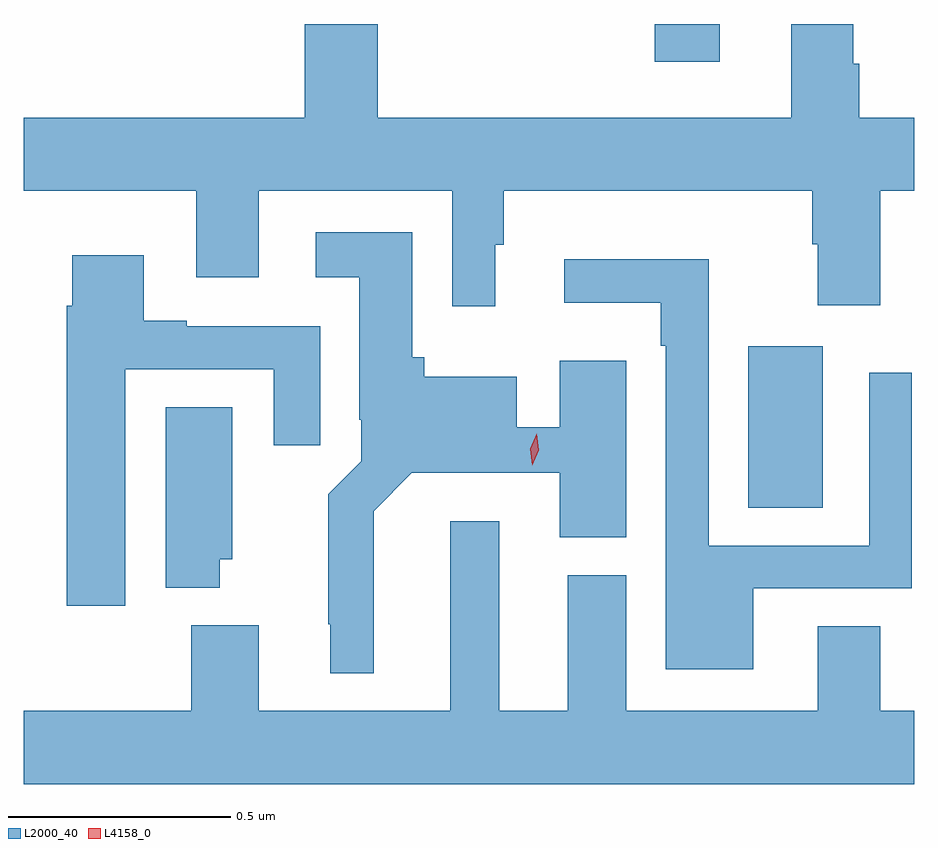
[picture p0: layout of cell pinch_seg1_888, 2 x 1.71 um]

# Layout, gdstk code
import gdstk
lib = gdstk.Library(unit=1e-6, precision=1e-09)
def R(c, l, rs):  # rectangles x0, y0, x1, y1
    for r in rs: c.add(gdstk.rectangle(r[:2], r[2:], *l))
def P(c, l, *ps):  # polygons
    for p in ps: c.add(gdstk.Polygon(p, *l))
L2000_40 = (2000, 40)
L4158_0 = (4158, 0)

pinch_seg1_888 = lib.new_cell('pinch_seg1_888')
R(pinch_seg1_888, L2000_40, [(394.664,504.4,394.831,504.763), (394.454,505.401,394.6,505.486)])
P(pinch_seg1_888, L2000_40, [(394.096,504.99),(394.115,504.99),(394.115,505.112),(394.808,505.112),(394.808,504.992),(394.82,504.992),(394.82,504.855),(394.96,504.855),(394.96,505.112),(395.037,505.112),(395.037,505.276),(394.913,505.276),(394.913,505.397),(394.9,505.397),(394.9,505.486),(394.76,505.486),(394.76,505.276),(393.832,505.276),(393.832,505.486),(393.668,505.486),(393.668,505.276),(393.037,505.276),(393.037,505.112),(393.425,505.112),(393.425,504.918),(393.565,504.918),(393.565,505.112),(393.999,505.112),(393.999,504.852),(394.096,504.852)],
  [(393.823,504.392),(393.909,504.479),(394.241,504.479),(394.241,504.334),(394.39,504.334),(394.39,504.73),(394.241,504.73),(394.241,504.581),(394.144,504.581),(394.144,504.694),(393.936,504.694),(393.936,504.738),(393.91,504.738),(393.91,505.018),(393.693,505.018),(393.693,504.917),(393.791,504.917),(393.791,504.598),(393.795,504.598),(393.795,504.504),(393.721,504.43),(393.721,504.139),(393.725,504.139),(393.725,504.029),(393.823,504.029)],
  [(393.265,504.711),(393.599,504.711),(393.599,504.54),(393.703,504.54),(393.703,504.807),(393.403,504.807),(393.403,504.82),(393.307,504.82),(393.307,504.967),(393.146,504.967),(393.146,504.854),(393.134,504.854),(393.134,504.18),(393.265,504.18)],
  [(394.675,504.219),(395.031,504.219),(395.031,504.703),(394.935,504.703),(394.935,504.315),(394.575,504.315),(394.575,504.958),(394.251,504.958),(394.251,504.86),(394.467,504.86),(394.467,504.764),(394.479,504.764),(394.479,504.038),(394.675,504.038)],
  [(393.478,504.285),(393.505,504.285),(393.505,504.626),(393.356,504.626),(393.356,504.221),(393.478,504.221)],
  [(395.037,503.944),(394.96,503.944),(394.96,504.134),(394.82,504.134),(394.82,503.944),(394.39,503.944),(394.39,504.249),(394.259,504.249),(394.259,503.944),(394.105,503.944),(394.105,504.37),(393.995,504.37),(393.995,503.944),(393.565,503.944),(393.565,504.136),(393.413,504.136),(393.413,503.944),(393.037,503.944),(393.037,503.78),(395.037,503.78)])
P(pinch_seg1_888, L4158_0, [(394.179,504.495),(394.179,504.495),(394.174,504.532),(394.189,504.566),(394.189,504.566),(394.189,504.566),(394.194,504.529),(394.179,504.495)])

lib.write_gds('pinch_seg1_888.gds')
